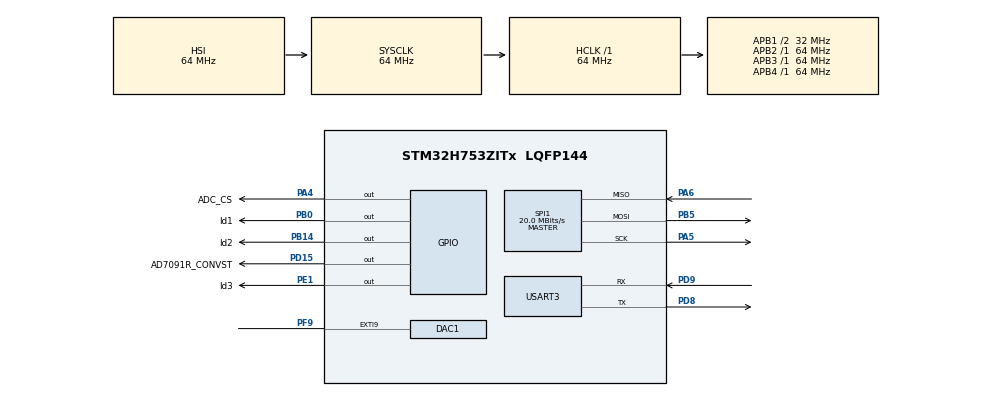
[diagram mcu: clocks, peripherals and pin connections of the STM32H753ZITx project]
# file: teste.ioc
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CORTEX_M7.default_mode_Activation=1
DAC1.DAC_Channel-DAC_OUT1_Int=DAC_CHANNEL_1
Dma.Request0=USART3_RX
Dma.Request1=USART3_TX
Dma.Request2=SPI1_RX
Dma.Request3=SPI1_TX
Dma.SPI1_RX.2.Direction=DMA_PERIPH_TO_MEMORY
Dma.SPI1_RX.2.EventEnable=DISABLE
Dma.SPI1_RX.2.FIFOMode=DMA_FIFOMODE_DISABLE
Dma.SPI1_RX.2.Instance=DMA1_Stream2
Dma.SPI1_RX.2.MemDataAlignment=DMA_MDATAALIGN_BYTE
Dma.SPI1_RX.2.MemInc=DMA_MINC_ENABLE
Dma.SPI1_RX.2.Mode=DMA_NORMAL
Dma.SPI1_RX.2.PeriphDataAlignment=DMA_PDATAALIGN_BYTE
Dma.SPI1_RX.2.PeriphInc=DMA_PINC_DISABLE
Dma.SPI1_RX.2.Polarity=HAL_DMAMUX_REQ_GEN_RISING
Dma.SPI1_RX.2.Priority=DMA_PRIORITY_LOW
Dma.SPI1_RX.2.RequestNumber=1
Dma.SPI1_RX.2.SignalID=NONE
Dma.SPI1_RX.2.SyncEnable=DISABLE
Dma.SPI1_RX.2.SyncPolarity=HAL_DMAMUX_SYNC_NO_EVENT
Dma.SPI1_RX.2.SyncRequestNumber=1
Dma.SPI1_RX.2.SyncSignalID=NONE
Dma.SPI1_TX.3.Direction=DMA_MEMORY_TO_PERIPH
Dma.SPI1_TX.3.EventEnable=DISABLE
Dma.SPI1_TX.3.FIFOMode=DMA_FIFOMODE_DISABLE
Dma.SPI1_TX.3.Instance=DMA1_Stream3
Dma.SPI1_TX.3.MemDataAlignment=DMA_MDATAALIGN_BYTE
Dma.SPI1_TX.3.MemInc=DMA_MINC_ENABLE
Dma.SPI1_TX.3.Mode=DMA_CIRCULAR
Dma.SPI1_TX.3.PeriphDataAlignment=DMA_PDATAALIGN_BYTE
Dma.SPI1_TX.3.PeriphInc=DMA_PINC_DISABLE
Dma.SPI1_TX.3.Polarity=HAL_DMAMUX_REQ_GEN_RISING
Dma.SPI1_TX.3.Priority=DMA_PRIORITY_LOW
Dma.SPI1_TX.3.RequestNumber=1
Dma.SPI1_TX.3.SignalID=NONE
Dma.SPI1_TX.3.SyncEnable=DISABLE
Dma.SPI1_TX.3.SyncPolarity=HAL_DMAMUX_SYNC_NO_EVENT
Dma.SPI1_TX.3.SyncRequestNumber=1
Dma.SPI1_TX.3.SyncSignalID=NONE
Dma.USART3_RX.0.Direction=DMA_PERIPH_TO_MEMORY
Dma.USART3_RX.0.EventEnable=DISABLE
Dma.USART3_RX.0.FIFOMode=DMA_FIFOMODE_DISABLE
Dma.USART3_RX.0.Instance=DMA1_Stream0
Dma.USART3_RX.0.MemDataAlignment=DMA_MDATAALIGN_BYTE
Dma.USART3_RX.0.MemInc=DMA_MINC_ENABLE
Dma.USART3_RX.0.Mode=DMA_NORMAL
Dma.USART3_RX.0.PeriphDataAlignment=DMA_PDATAALIGN_BYTE
Dma.USART3_RX.0.PeriphInc=DMA_PINC_DISABLE
Dma.USART3_RX.0.Polarity=HAL_DMAMUX_REQ_GEN_RISING
Dma.USART3_RX.0.Priority=DMA_PRIORITY_LOW
Dma.USART3_RX.0.RequestNumber=1
Dma.USART3_RX.0.SignalID=NONE
Dma.USART3_RX.0.SyncEnable=DISABLE
Dma.USART3_RX.0.SyncPolarity=HAL_DMAMUX_SYNC_NO_EVENT
Dma.USART3_RX.0.SyncRequestNumber=1
Dma.USART3_RX.0.SyncSignalID=NONE
Dma.USART3_TX.1.Direction=DMA_MEMORY_TO_PERIPH
Dma.USART3_TX.1.EventEnable=DISABLE
Dma.USART3_TX.1.FIFOMode=DMA_FIFOMODE_DISABLE
Dma.USART3_TX.1.Instance=DMA1_Stream1
Dma.USART3_TX.1.MemDataAlignment=DMA_MDATAALIGN_BYTE
Dma.USART3_TX.1.MemInc=DMA_MINC_ENABLE
Dma.USART3_TX.1.Mode=DMA_NORMAL
Dma.USART3_TX.1.PeriphDataAlignment=DMA_PDATAALIGN_BYTE
Dma.USART3_TX.1.PeriphInc=DMA_PINC_DISABLE
Dma.USART3_TX.1.Polarity=HAL_DMAMUX_REQ_GEN_RISING
Dma.USART3_TX.1.Priority=DMA_PRIORITY_LOW
Dma.USART3_TX.1.RequestNumber=1
Dma.USART3_TX.1.SignalID=NONE
Dma.USART3_TX.1.SyncEnable=DISABLE
Dma.USART3_TX.1.SyncPolarity=HAL_DMAMUX_SYNC_NO_EVENT
Dma.USART3_TX.1.SyncRequestNumber=1
Dma.USART3_TX.1.SyncSignalID=NONE
Mcu.Family=STM32H7
Mcu.Name=STM32H753ZITx
Mcu.Package=LQFP144
NVIC.DMA1_Stream0_IRQn=true\:0\:0\:false\:false\:true\:false\:true\:true
NVIC.DMA1_Stream1_IRQn=true\:0\:0\:false\:false\:true\:false\:true\:true
NVIC.DMA1_Stream2_IRQn=true\:0\:0\:false\:false\:true\:false\:true\:true
NVIC.DMA1_Stream3_IRQn=true\:0\:0\:false\:false\:true\:false\:true\:true
NVIC.PriorityGroup=NVIC_PRIORITYGROUP_4
NVIC.SPI1_IRQn=true\:0\:0\:false\:false\:true\:true\:true\:true
NVIC.USART3_IRQn=true\:0\:0\:false\:false\:true\:true\:true\:true
PA4.GPIO_Label=ADC_CS
PA4.Signal=GPIO_Output
PA5.Mode=Full_Duplex_Master
PA5.Signal=SPI1_SCK
PA6.Mode=Full_Duplex_Master
PA6.Signal=SPI1_MISO
PB0.GPIO_Label=ld1
PB0.Signal=GPIO_Output
PB14.GPIO_Label=ld2
PB14.Signal=GPIO_Output
PB5.Mode=Full_Duplex_Master
PB5.Signal=SPI1_MOSI
PD15.GPIO_Label=AD7091R_CONVST
PD15.GPIO_Speed=GPIO_SPEED_FREQ_HIGH
PD15.PinState=GPIO_PIN_SET
PD15.Signal=GPIO_Output
PD8.Mode=Asynchronous
PD8.Signal=USART3_TX
PD9.Mode=Asynchronous
PD9.Signal=USART3_RX
PE1.GPIO_Label=ld3
PE1.Signal=GPIO_Output
PF9.Signal=GPXTI9
ProjectManager.HeapSize=0x200
ProjectManager.StackSize=0x400
ProjectManager.TargetToolchain=STM32CubeIDE
RCC.ADCFreq_Value=129000000
RCC.APB1Freq_Value=32000000
RCC.APB2Freq_Value=64000000
RCC.APB3Freq_Value=64000000
RCC.APB4Freq_Value=64000000
RCC.CortexFreq_Value=64000000
RCC.D2PPRE1=RCC_APB1_DIV2
RCC.DIVM1=4
RCC.DIVN1=10
RCC.HCLKFreq_Value=64000000
RCC.PLLFRACN=0
RCC.SYSCLKFreq_VALUE=64000000
RCC.USBFreq_Value=80000000
SPI1.BaudRatePrescaler=SPI_BAUDRATEPRESCALER_4
SPI1.CLKPhase=SPI_PHASE_1EDGE
SPI1.CLKPolarity=SPI_POLARITY_HIGH
SPI1.CalculateBaudRate=20.0 MBits/s
SPI1.DataSize=SPI_DATASIZE_8BIT
SPI1.Direction=SPI_DIRECTION_2LINES
SPI1.Mode=SPI_MODE_MASTER
SPI1.VirtualType=VM_MASTER
USART3.VirtualMode-Asynchronous=VM_ASYNC
VP_DAC1_VS_DACI1.Mode=DAC_OUT1_Int
VP_MEMORYMAP_VS_MEMORYMAP.Mode=CurAppReg
board=custom

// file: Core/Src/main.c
/* USER CODE BEGIN Header */
/**
  ******************************************************************************
  * @file           : main.c
  * @brief          : Main program body
  ******************************************************************************
  * @attention
  *
  * <h2><center>© Copyright (c) 2019 STMicroelectronics.
  * All rights reserved.</center></h2>
  *
  * This software component is licensed by ST under BSD 3-Clause license,
  * the "License"; You may not use this file except in compliance with the
  * License. You may obtain a copy of the License at:
  *                        opensource.org/licenses/BSD-3-Clause
  *
  ******************************************************************************
  */
/* USER CODE END Header */
#include "main.h"
#include "dac.h"
#include "dma.h"
#include "spi.h"
#include "usart.h"
#include "gpio.h"

/* USER CODE BEGIN PD */
#define ADC_BITS              12
#define ADC_MAX_VALUE         ((1 << ADC_BITS) - 1)   // 4095
#define VREF_MV               2500.0f

#define MIN_CURRENT_MA        4.0f
#define MAX_CURRENT_MA        20.0f
#define MIN_VOLTAGE_ADC_MV    100.0f     // conforme CN0336 (0.1V)
#define MAX_VOLTAGE_ADC_MV    2400.0f    // conforme CN0336 (2.4V)

#define NUM_SAMPLES           30

#define AD7091R_CS_Pin        ADC_CS_Pin
#define AD7091R_CS_Port       ADC_CS_GPIO_Port
#define AD7091R_CMD_RESET     0xFFFF
#define AD7091R_CMD_NORMAL    0x0020
//#define CALIBRATED_RAW_MIN    (uint16_t)325  // Exemplo: leitura do ADC para 4mA
//#define CALIBRATED_RAW_MAX    (uint16_t)3875 // Exemplo: leitura do ADC para 20mA
/* USER CODE END PD */

/* USER CODE BEGIN PV */
char writeValue[128];
/* USER CODE END PV */

void SystemClock_Config(void);
static void MPU_Config(void);
/* USER CODE BEGIN PFP */
uint16_t AD7091R_ReadData(void);
uint16_t get_filtered_reading(void);
float raw_to_voltage_mV(uint16_t raw_value);
float voltage_to_current_mA(float voltage_mv);
void serialPrint(const char* message);
/* USER CODE END PFP */

/* USER CODE BEGIN 0 */

void AD7091R_Init(void)
{
    HAL_GPIO_WritePin(AD7091R_CS_Port, AD7091R_CS_Pin, GPIO_PIN_RESET);
    uint16_t reset_cmd_tx = AD7091R_CMD_RESET;
    HAL_SPI_Transmit(&hspi1, (uint8_t*)&reset_cmd_tx, 2, HAL_MAX_DELAY);
    HAL_GPIO_WritePin(AD7091R_CS_Port, AD7091R_CS_Pin, GPIO_PIN_SET);
    HAL_Delay(100);

    HAL_GPIO_WritePin(AD7091R_CS_Port, AD7091R_CS_Pin, GPIO_PIN_RESET);
    uint16_t normal_cmd_tx = AD7091R_CMD_NORMAL;
    HAL_SPI_Transmit(&hspi1, (uint8_t*)&normal_cmd_tx, 2, HAL_MAX_DELAY);
    HAL_GPIO_WritePin(AD7091R_CS_Port, AD7091R_CS_Pin, GPIO_PIN_SET);
}

uint16_t AD7091R_ReadData(void)
{
    uint8_t rx_buf[2] = {0};
    uint16_t adc_raw_16bits, adc_value_12bits;

    HAL_Delay(100);

    HAL_GPIO_WritePin(AD7091R_CS_Port, AD7091R_CS_Pin, GPIO_PIN_RESET);
    if (HAL_SPI_Receive(&hspi1, rx_buf, 2, HAL_MAX_DELAY) != HAL_OK)
    {
        HAL_GPIO_WritePin(AD7091R_CS_Port, AD7091R_CS_Pin, GPIO_PIN_SET);
        HAL_GPIO_WritePin(ld2_GPIO_Port, ld2_Pin, GPIO_PIN_SET);  // LED erro
        HAL_Delay(100);
        HAL_GPIO_WritePin(ld2_GPIO_Port, ld2_Pin, GPIO_PIN_RESET);
        serialPrint("Erro na comunicacao SPI!\r\n");
        return 0;
    }
    HAL_GPIO_WritePin(AD7091R_CS_Port, AD7091R_CS_Pin, GPIO_PIN_SET);

    HAL_GPIO_TogglePin(ld1_GPIO_Port, ld1_Pin);  // LED VERDE SUCESSO

    adc_raw_16bits = (rx_buf[0] << 8) | rx_buf[1];
    adc_value_12bits = (adc_raw_16bits >> 2) & 0x0FFF;

    return adc_value_12bits;
}

uint16_t get_filtered_reading(void)
{
    uint32_t sum = 0;
    for(uint8_t i = 0; i < NUM_SAMPLES; i++) {
        sum += AD7091R_ReadData();
        HAL_Delay(100);
    }
    return (uint16_t)(sum / NUM_SAMPLES);
}

float raw_to_voltage_mV(uint16_t raw_value)
{
    return ((float)raw_value / ADC_MAX_VALUE) * VREF_MV;
}

float voltage_to_current_mA(float voltage_mv)
{
    if (voltage_mv < MIN_VOLTAGE_ADC_MV) voltage_mv = MIN_VOLTAGE_ADC_MV;
    if (voltage_mv > MAX_VOLTAGE_ADC_MV) voltage_mv = MAX_VOLTAGE_ADC_MV;

    return 4.0f + ((voltage_mv - MIN_VOLTAGE_ADC_MV) * (16.0f / (MAX_VOLTAGE_ADC_MV - MIN_VOLTAGE_ADC_MV)));
}

void serialPrint(const char* message)
{
    HAL_UART_Transmit(&huart3, (uint8_t*)message, strlen(message), HAL_MAX_DELAY);
}

/* USER CODE END 0 */

int main(void)
{

  /* MPU Configuration--------------------------------------------------------*/
  MPU_Config();

  /* MCU Configuration--------------------------------------------------------*/

  /* Reset of all peripherals, Initializes the Flash interface and the Systick. */
  HAL_Init();

  /* Configure the system clock */
  SystemClock_Config();

  /* Initialize all configured peripherals */
  MX_GPIO_Init();
  MX_DMA_Init();
  MX_USART3_UART_Init();
  MX_SPI1_Init();
  MX_DAC1_Init();

  /* Infinite loop */
  /* USER CODE BEGIN WHILE */
  while (1)
  {
    uint16_t raw_value = get_filtered_reading();
    float voltage_mv = raw_to_voltage_mV(raw_value);
    float current_ma = voltage_to_current_mA(voltage_mv);
    float percentage = ((current_ma - MIN_CURRENT_MA) / (MAX_CURRENT_MA - MIN_CURRENT_MA)) * 100.0f;

    sprintf(writeValue, "ADC:%4u | V:%.2fmV | I:%.2fmA | %%:%.1f\r\n", raw_value, voltage_mv, current_ma, percentage);
    serialPrint(writeValue);
    serialPrint("---\r\n");

    HAL_Delay(1000);

    HAL_GPIO_TogglePin(ld3_GPIO_Port, ld3_Pin);  // LED AZUL - Loop ativo
    HAL_Delay(1000);
  }
}
    /* USER CODE END WHILE */

void SystemClock_Config(void)
{
  RCC_OscInitTypeDef RCC_OscInitStruct = {0};
  RCC_ClkInitTypeDef RCC_ClkInitStruct = {0};

  /** Supply configuration update enable
  */
  HAL_PWREx_ConfigSupply(PWR_LDO_SUPPLY);

  /** Configure the main internal regulator output voltage
  */
  __HAL_PWR_VOLTAGESCALING_CONFIG(PWR_REGULATOR_VOLTAGE_SCALE3);

  while(!__HAL_PWR_GET_FLAG(PWR_FLAG_VOSRDY)) {}

  /** Initializes the RCC Oscillators according to the specified parameters
  * in the RCC_OscInitTypeDef structure.
  */
  RCC_OscInitStruct.OscillatorType = RCC_OSCILLATORTYPE_HSI;
  RCC_OscInitStruct.HSIState = RCC_HSI_DIV1;
  RCC_OscInitStruct.HSICalibrationValue = RCC_HSICALIBRATION_DEFAULT;
  RCC_OscInitStruct.PLL.PLLState = RCC_PLL_ON;
  RCC_OscInitStruct.PLL.PLLSource = RCC_PLLSOURCE_HSI;
  RCC_OscInitStruct.PLL.PLLM = 4;
  RCC_OscInitStruct.PLL.PLLN = 10;
  RCC_OscInitStruct.PLL.PLLP = 2;
  RCC_OscInitStruct.PLL.PLLQ = 2;
  RCC_OscInitStruct.PLL.PLLR = 2;
  RCC_OscInitStruct.PLL.PLLRGE = RCC_PLL1VCIRANGE_3;
  RCC_OscInitStruct.PLL.PLLVCOSEL = RCC_PLL1VCOMEDIUM;
  RCC_OscInitStruct.PLL.PLLFRACN = 0;
  if (HAL_RCC_OscConfig(&RCC_OscInitStruct) != HAL_OK)
  {
    Error_Handler();
  }

  /** Initializes the CPU, AHB and APB buses clocks
  */
  RCC_ClkInitStruct.ClockType = RCC_CLOCKTYPE_HCLK|RCC_CLOCKTYPE_SYSCLK
                              |RCC_CLOCKTYPE_PCLK1|RCC_CLOCKTYPE_PCLK2
                              |RCC_CLOCKTYPE_D3PCLK1|RCC_CLOCKTYPE_D1PCLK1;
  RCC_ClkInitStruct.SYSCLKSource = RCC_SYSCLKSOURCE_HSI;
  RCC_ClkInitStruct.SYSCLKDivider = RCC_SYSCLK_DIV1;
  RCC_ClkInitStruct.AHBCLKDivider = RCC_HCLK_DIV1;
  RCC_ClkInitStruct.APB3CLKDivider = RCC_APB3_DIV1;
  RCC_ClkInitStruct.APB1CLKDivider = RCC_APB1_DIV2;
  RCC_ClkInitStruct.APB2CLKDivider = RCC_APB2_DIV1;
  RCC_ClkInitStruct.APB4CLKDivider = RCC_APB4_DIV1;

  if (HAL_RCC_ClockConfig(&RCC_ClkInitStruct, FLASH_LATENCY_1) != HAL_OK)
  {
    Error_Handler();
  }
}

 /* MPU Configuration */

void MPU_Config(void)
{
  MPU_Region_InitTypeDef MPU_InitStruct = {0};

  /* Disables the MPU */
  HAL_MPU_Disable();

  /** Initializes and configures the Region and the memory to be protected
  */
  MPU_InitStruct.Enable = MPU_REGION_ENABLE;
  MPU_InitStruct.Number = MPU_REGION_NUMBER0;
  MPU_InitStruct.BaseAddress = 0x0;
  MPU_InitStruct.Size = MPU_REGION_SIZE_4GB;
  MPU_InitStruct.SubRegionDisable = 0x87;
  MPU_InitStruct.TypeExtField = MPU_TEX_LEVEL0;
  MPU_InitStruct.AccessPermission = MPU_REGION_NO_ACCESS;
  MPU_InitStruct.DisableExec = MPU_INSTRUCTION_ACCESS_DISABLE;
  MPU_InitStruct.IsShareable = MPU_ACCESS_SHAREABLE;
  MPU_InitStruct.IsCacheable = MPU_ACCESS_NOT_CACHEABLE;
  MPU_InitStruct.IsBufferable = MPU_ACCESS_NOT_BUFFERABLE;

  HAL_MPU_ConfigRegion(&MPU_InitStruct);
  /* Enables the MPU */
  HAL_MPU_Enable(MPU_PRIVILEGED_DEFAULT);

}

void Error_Handler(void)
{
  __disable_irq();
  while (1)
  {
  }
}
